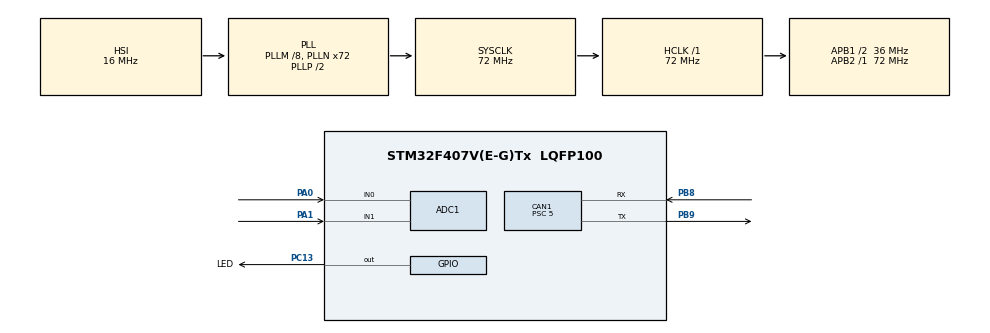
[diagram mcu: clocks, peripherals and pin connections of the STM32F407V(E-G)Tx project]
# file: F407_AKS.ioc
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ADC1.Channel-1\#ChannelRegularConversion=ADC_CHANNEL_1
ADC1.ContinuousConvMode=ENABLE
ADC1.NbrOfConversionFlag=1
ADC1.Rank-1\#ChannelRegularConversion=1
ADC1.SamplingTime-1\#ChannelRegularConversion=ADC_SAMPLETIME_3CYCLES
ADC1.master=1
CAN1.BS1=CAN_BS1_10TQ
CAN1.BS2=CAN_BS2_5TQ
CAN1.CalculateBaudRate=450000
CAN1.CalculateTimeBit=2222
CAN1.CalculateTimeQuantum=138.88888888888889
CAN1.Prescaler=5
Mcu.Family=STM32F4
Mcu.Name=STM32F407V(E-G)Tx
Mcu.Package=LQFP100
NVIC.PriorityGroup=NVIC_PRIORITYGROUP_4
PA0-WKUP.Signal=ADCx_IN0
PA1.Signal=ADCx_IN1
PA13.Mode=Serial_Wire
PA13.Signal=SYS_JTMS-SWDIO
PA14.Mode=Serial_Wire
PA14.Signal=SYS_JTCK-SWCLK
PB8.Mode=CAN_Activate
PB8.Signal=CAN1_RX
PB9.Mode=CAN_Activate
PB9.Signal=CAN1_TX
PC13-ANTI_TAMP.GPIO_Label=LED
PC13-ANTI_TAMP.Signal=GPIO_Output
PH0-OSC_IN.Mode=HSE-External-Oscillator
PH0-OSC_IN.Signal=RCC_OSC_IN
PH1-OSC_OUT.Mode=HSE-External-Oscillator
PH1-OSC_OUT.Signal=RCC_OSC_OUT
ProjectManager.HeapSize=0x200
ProjectManager.StackSize=0x400
ProjectManager.TargetToolchain=STM32CubeIDE
RCC.48MHZClocksFreq_Value=36000000
RCC.AHBFreq_Value=72000000
RCC.APB1CLKDivider=RCC_HCLK_DIV2
RCC.APB1Freq_Value=36000000
RCC.APB1TimFreq_Value=72000000
RCC.APB2Freq_Value=72000000
RCC.APB2TimFreq_Value=72000000
RCC.CortexFreq_Value=72000000
RCC.HCLKFreq_Value=72000000
RCC.HSE_VALUE=25000000
RCC.HSI_VALUE=16000000
RCC.LSE_VALUE=32768
RCC.PLLM=8
RCC.PLLN=72
RCC.SYSCLKFreq_VALUE=72000000
RCC.SYSCLKSource=RCC_SYSCLKSOURCE_PLLCLK
RCC.VCOOutputFreq_Value=144000000
SH.ADCx_IN0.0=ADC1_IN0,IN0
SH.ADCx_IN1.0=ADC1_IN1,IN1
board=custom

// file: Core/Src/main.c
/* USER CODE BEGIN Header */
/**
  ******************************************************************************
  * @file           : main.c
  * @brief          : Main program body
  ******************************************************************************
  * @attention
  *
  * Copyright (c) 2024 STMicroelectronics.
  * All rights reserved.
  *
  * This software is licensed under terms that can be found in the LICENSE file
  * in the root directory of this software component.
  * If no LICENSE file comes with this software, it is provided AS-IS.
  *
  ******************************************************************************
  */
/* USER CODE END Header */
#include "main.h"

/* USER CODE BEGIN Includes */
#include <math.h>

/* USER CODE END Includes */

ADC_HandleTypeDef hadc1;

CAN_HandleTypeDef hcan1;

/* USER CODE BEGIN PV */
uint32_t TxMailbox;
int i;
uint16_t testTemp_analog;
float testTemp;
uint16_t motorTemp_analog;
float motorTemp;
uint8_t dataReceive[8];
uint8_t Package8_1[8];
uint8_t Package8_2[8];
uint8_t Package8_3[8];
uint8_t Package8_4[8];
int gps_speed;

float Package1[8];
float Package2[8];
float Package3[8];
float Package4[8];

/* USER CODE END PV */

void SystemClock_Config(void);
static void MX_GPIO_Init(void);
static void MX_ADC1_Init(void);
static void MX_CAN1_Init(void);
/* USER CODE BEGIN PFP */
double Thermistor(int analogValue){

 double temperature;
 temperature = log(((40950000 / analogValue) - 10000));// 4095 ADC çözünürlüğü(12 bit)
 temperature = 1 / (0.001129148 + (0.000234125 + (0.0000000876741 * temperature * temperature)) * temperature);
 temperature = temperature - 273.15;
 return temperature;
}

/* USER CODE END PFP */

/* USER CODE BEGIN 0 */
struct carData{
	  float voltage1;
	  float voltage2;
	  float voltage3;
	  float voltage4;
	  float voltage5;
	  float voltage6;
	  float voltage7;
	  float voltage8;
	  float voltage9;
	  float voltage10;
	  float voltage11;
	  float voltage12;
	  float voltage13;
	  float voltage14;
	  float voltage15;
	  float voltage16;
	  float voltage17;
	  float voltage18;
	  float voltage19;
	  float voltage20;
	  float totalVoltage;
	  float batteryTemp1;
	  float batteryTemp2;
	  float batteryTemp3;
	  float batteryTemp4;
	  float testTemp;
	  float motorTemp;
	  float speed;
	  float current;
	  float remainEnergy;
  }data1;
CAN_TxHeaderTypeDef TxHeader[4];
CAN_RxHeaderTypeDef RxHeader[4];

/* USER CODE END 0 */

int main(void)
{

  /* MCU Configuration--------------------------------------------------------*/

  /* Reset of all peripherals, Initializes the Flash interface and the Systick. */
  HAL_Init();

  /* Configure the system clock */
  SystemClock_Config();

  /* Initialize all configured peripherals */
  MX_GPIO_Init();
  MX_ADC1_Init();
  MX_CAN1_Init();
  /* USER CODE BEGIN 2 */
  HAL_CAN_Start(&hcan1);

  TxHeader[0].DLC = 8;
  TxHeader[0].IDE = CAN_ID_EXT;
  TxHeader[0].RTR = CAN_RTR_DATA;
/*
  TxHeader[1].DLC = 8;
  TxHeader[1].IDE = CAN_ID_EXT;
  TxHeader[1].RTR = CAN_RTR_DATA;
  TxHeader[1].ExtId = 0x1DFFFFFF;

  TxHeader[2].DLC = 8;
  TxHeader[2].IDE = CAN_ID_EXT;
  TxHeader[2].RTR = CAN_RTR_DATA;
  TxHeader[2].ExtId = 0x1EFFFFFF;

  TxHeader[3].DLC = 8;
  TxHeader[3].IDE = CAN_ID_EXT;
  TxHeader[3].RTR = CAN_RTR_DATA;
  TxHeader[3].ExtId = 0x1FFFFFFF;
  */
  ADC_ChannelConfTypeDef sConfig = {0};

  /* USER CODE END 2 */

  /* Infinite loop */
  while (1)
  {

    /* USER CODE BEGIN 3 */

	  sConfig.Channel = ADC_CHANNEL_0;
	  sConfig.Rank = 1;
	  sConfig.SamplingTime = ADC_SAMPLETIME_3CYCLES;
	  if (HAL_ADC_ConfigChannel(&hadc1, &sConfig) != HAL_OK)
	  {
	    Error_Handler();
	  }

	  HAL_ADC_Start(&hadc1);
	  testTemp_analog = HAL_ADC_GetValue(&hadc1);
	  testTemp = Thermistor(testTemp_analog);
	  HAL_ADC_Stop(&hadc1);

	  sConfig.Channel = ADC_CHANNEL_1;
	  if (HAL_ADC_ConfigChannel(&hadc1, &sConfig) != HAL_OK)
	  {
	    Error_Handler();
	  }

	  HAL_ADC_Start(&hadc1);
	  motorTemp_analog = HAL_ADC_GetValue(&hadc1);
	  motorTemp = Thermistor(motorTemp_analog);
	  HAL_ADC_Stop(&hadc1);

	  HAL_GPIO_WritePin(LED_GPIO_Port, LED_Pin, 1);
	 // HAL_Delay(50);
	  HAL_CAN_GetRxMessage(&hcan1, CAN_RX_FIFO0, &RxHeader[0], dataReceive);
	  if(RxHeader[0].ExtId == 0x1CFFFFFF){
		  HAL_GPIO_WritePin(LED_GPIO_Port, LED_Pin, 0);
		 // HAL_Delay(50);
		  for(i=0;i<=7;i++){
			  Package8_1[i] = dataReceive[i];
		  }
	  }
	  //HAL_Delay(50);
	  HAL_CAN_GetRxMessage(&hcan1, CAN_RX_FIFO0, &RxHeader[0], dataReceive);
	  if(RxHeader[0].ExtId == 0x1DFFFFFF){
	  HAL_GPIO_WritePin(LED_GPIO_Port, LED_Pin, 0);
	  //HAL_Delay(50);
		  for(i=0;i<=7;i++){
			  Package8_2[i] = dataReceive[i];
		  }
	  }
	  //HAL_Delay(50);
	  HAL_CAN_GetRxMessage(&hcan1, CAN_RX_FIFO0, &RxHeader[0], dataReceive);
	  if(RxHeader[0].ExtId == 0x1EFFFFFF){
	  HAL_GPIO_WritePin(LED_GPIO_Port, LED_Pin, 0);
	 // HAL_Delay(50);
		  for(i=0;i<=7;i++){
			  Package8_3[i] = dataReceive[i];
		  }
	  }
	  //HAL_Delay(50);
	  HAL_CAN_GetRxMessage(&hcan1, CAN_RX_FIFO0, &RxHeader[0], dataReceive);
	  if(RxHeader[0].ExtId == 0x1FFFFFFF){
	  HAL_GPIO_WritePin(LED_GPIO_Port, LED_Pin, 0);
	  //HAL_Delay(50);
		  for(i=0;i<1;i++){
			  Package8_4[i] = dataReceive[i];
		  }
	  }
	  for(i=0;i<=7;i++){
		  Package1[i] = Thermistor(Package8_1[i]*16);
		  Package2[i] = Thermistor(Package8_2[i]*16);
		  Package3[i] = Thermistor(Package8_3[i]*16);
		  Package4[0] = Thermistor(Package8_4[0]*16);

	  }

	  gps_speed=15;

	  data1.voltage1 = Package1[0];
	  data1.voltage2 = Package1[1];
	  data1.voltage3 = Package1[2];
	  data1.voltage4 = Package1[3];
	  data1.voltage5 = Package1[4];
	  data1.voltage6 = Package1[5];
	  data1.voltage7 = Package1[6];
	  data1.voltage8 = Package1[7];
	  data1.voltage9 = Package2[0];
	  data1.voltage10 = Package2[1];
	  data1.voltage11 = Package2[2];
	  data1.voltage12 = Package2[3];
	  data1.voltage13 = Package2[4];
	  data1.voltage14 = Package2[5];
	  data1.voltage15 = Package2[6];
	  data1.voltage16 = Package2[7];
	  data1.voltage17 = Package3[0];
	  data1.voltage18 = Package3[1];
	  data1.voltage19 = Package3[2];
	  data1.voltage20 = Package3[3];
	  data1.totalVoltage = Package8_3[4]*84/255;
      data1.batteryTemp1 = Package3[5];
	  data1.batteryTemp2 = Package3[6];
	  data1.batteryTemp3 = Package3[7];
	  data1.batteryTemp4 = Package4[0];
	  data1.testTemp = testTemp;
	  Package8_4[1] = testTemp_analog/16;
	  data1.motorTemp = motorTemp;
	  Package8_4[2] = motorTemp_analog/16;
	  data1.speed = gps_speed;
	  Package8_4[3] = (uint8_t)gps_speed;
	  Package8_4[4] = 1028/16;
	  data1.current = Package8_4[3];
	  data1.remainEnergy = (int)(data1.totalVoltage/84.00)*100;
	  Package8_4[5] = (uint8_t)data1.remainEnergy;

	  TxHeader[0].ExtId = 0x0CFFFFFF;
	  HAL_CAN_AddTxMessage(&hcan1, &TxHeader[0], Package8_1, &TxMailbox);
	  HAL_Delay(10);
	  TxHeader[0].ExtId = 0x0DFFFFFF;
	  HAL_CAN_AddTxMessage(&hcan1, &TxHeader[0], Package8_2, &TxMailbox);
	  HAL_Delay(10);
	  TxHeader[0].ExtId = 0x0EFFFFFF;
	  HAL_CAN_AddTxMessage(&hcan1, &TxHeader[0], Package8_3, &TxMailbox);
	  HAL_Delay(10);
	  TxHeader[0].ExtId = 0x0FFFFFFF;
	  HAL_CAN_AddTxMessage(&hcan1, &TxHeader[0], Package8_4, &TxMailbox);
	  HAL_Delay(10);

  }
  /* USER CODE END 3 */
}

void SystemClock_Config(void)
{
  RCC_OscInitTypeDef RCC_OscInitStruct = {0};
  RCC_ClkInitTypeDef RCC_ClkInitStruct = {0};

  /** Configure the main internal regulator output voltage
  */
  __HAL_RCC_PWR_CLK_ENABLE();
  __HAL_PWR_VOLTAGESCALING_CONFIG(PWR_REGULATOR_VOLTAGE_SCALE1);

  /** Initializes the RCC Oscillators according to the specified parameters
  * in the RCC_OscInitTypeDef structure.
  */
  RCC_OscInitStruct.OscillatorType = RCC_OSCILLATORTYPE_HSI;
  RCC_OscInitStruct.HSIState = RCC_HSI_ON;
  RCC_OscInitStruct.HSICalibrationValue = RCC_HSICALIBRATION_DEFAULT;
  RCC_OscInitStruct.PLL.PLLState = RCC_PLL_ON;
  RCC_OscInitStruct.PLL.PLLSource = RCC_PLLSOURCE_HSI;
  RCC_OscInitStruct.PLL.PLLM = 8;
  RCC_OscInitStruct.PLL.PLLN = 72;
  RCC_OscInitStruct.PLL.PLLP = RCC_PLLP_DIV2;
  RCC_OscInitStruct.PLL.PLLQ = 4;
  if (HAL_RCC_OscConfig(&RCC_OscInitStruct) != HAL_OK)
  {
    Error_Handler();
  }

  /** Initializes the CPU, AHB and APB buses clocks
  */
  RCC_ClkInitStruct.ClockType = RCC_CLOCKTYPE_HCLK|RCC_CLOCKTYPE_SYSCLK
                              |RCC_CLOCKTYPE_PCLK1|RCC_CLOCKTYPE_PCLK2;
  RCC_ClkInitStruct.SYSCLKSource = RCC_SYSCLKSOURCE_PLLCLK;
  RCC_ClkInitStruct.AHBCLKDivider = RCC_SYSCLK_DIV1;
  RCC_ClkInitStruct.APB1CLKDivider = RCC_HCLK_DIV2;
  RCC_ClkInitStruct.APB2CLKDivider = RCC_HCLK_DIV1;

  if (HAL_RCC_ClockConfig(&RCC_ClkInitStruct, FLASH_LATENCY_2) != HAL_OK)
  {
    Error_Handler();
  }
}

static void MX_ADC1_Init(void)
{

  ADC_ChannelConfTypeDef sConfig = {0};

  /** Configure the global features of the ADC (Clock, Resolution, Data Alignment and number of conversion)
  */
  hadc1.Instance = ADC1;
  hadc1.Init.ClockPrescaler = ADC_CLOCK_SYNC_PCLK_DIV2;
  hadc1.Init.Resolution = ADC_RESOLUTION_12B;
  hadc1.Init.ScanConvMode = DISABLE;
  hadc1.Init.ContinuousConvMode = ENABLE;
  hadc1.Init.DiscontinuousConvMode = DISABLE;
  hadc1.Init.ExternalTrigConvEdge = ADC_EXTERNALTRIGCONVEDGE_NONE;
  hadc1.Init.ExternalTrigConv = ADC_SOFTWARE_START;
  hadc1.Init.DataAlign = ADC_DATAALIGN_RIGHT;
  hadc1.Init.NbrOfConversion = 1;
  hadc1.Init.DMAContinuousRequests = DISABLE;
  hadc1.Init.EOCSelection = ADC_EOC_SINGLE_CONV;
  if (HAL_ADC_Init(&hadc1) != HAL_OK)
  {
    Error_Handler();
  }

  /** Configure for the selected ADC regular channel its corresponding rank in the sequencer and its sample time.
  */
  sConfig.Channel = ADC_CHANNEL_1;
  sConfig.Rank = 1;
  sConfig.SamplingTime = ADC_SAMPLETIME_3CYCLES;
  if (HAL_ADC_ConfigChannel(&hadc1, &sConfig) != HAL_OK)
  {
    Error_Handler();
  }

}

static void MX_CAN1_Init(void)
{

  hcan1.Instance = CAN1;
  hcan1.Init.Prescaler = 5;
  hcan1.Init.Mode = CAN_MODE_NORMAL;
  hcan1.Init.SyncJumpWidth = CAN_SJW_1TQ;
  hcan1.Init.TimeSeg1 = CAN_BS1_10TQ;
  hcan1.Init.TimeSeg2 = CAN_BS2_5TQ;
  hcan1.Init.TimeTriggeredMode = DISABLE;
  hcan1.Init.AutoBusOff = DISABLE;
  hcan1.Init.AutoWakeUp = DISABLE;
  hcan1.Init.AutoRetransmission = DISABLE;
  hcan1.Init.ReceiveFifoLocked = DISABLE;
  hcan1.Init.TransmitFifoPriority = DISABLE;
  if (HAL_CAN_Init(&hcan1) != HAL_OK)
  {
    Error_Handler();
  }
  /* USER CODE BEGIN CAN1_Init 2 */
  CAN_FilterTypeDef canfilterconfig;

  canfilterconfig.FilterActivation = CAN_FILTER_ENABLE;
  canfilterconfig.FilterBank = 10;  // which filter bank to use from the assigned ones
  canfilterconfig.FilterFIFOAssignment = CAN_FILTER_FIFO0;
  canfilterconfig.FilterIdHigh = 0x000<<5;
  canfilterconfig.FilterIdLow = 0;
  canfilterconfig.FilterMaskIdHigh = 0x000<<5;
  canfilterconfig.FilterMaskIdLow = 0x0000;
  canfilterconfig.FilterMode = CAN_FILTERMODE_IDMASK;
  canfilterconfig.FilterScale = CAN_FILTERSCALE_32BIT;
  canfilterconfig.SlaveStartFilterBank = 13;  // how many filters to assign to the CAN1 (master can)

  HAL_CAN_ConfigFilter(&hcan1, &canfilterconfig);

  /* USER CODE END CAN1_Init 2 */

}

static void MX_GPIO_Init(void)
{
  GPIO_InitTypeDef GPIO_InitStruct = {0};

  /* GPIO Ports Clock Enable */
  __HAL_RCC_GPIOC_CLK_ENABLE();
  __HAL_RCC_GPIOH_CLK_ENABLE();
  __HAL_RCC_GPIOA_CLK_ENABLE();
  __HAL_RCC_GPIOB_CLK_ENABLE();

  /*Configure GPIO pin Output Level */
  HAL_GPIO_WritePin(LED_GPIO_Port, LED_Pin, GPIO_PIN_RESET);

  /*Configure GPIO pin : LED_Pin */
  GPIO_InitStruct.Pin = LED_Pin;
  GPIO_InitStruct.Mode = GPIO_MODE_OUTPUT_PP;
  GPIO_InitStruct.Pull = GPIO_NOPULL;
  GPIO_InitStruct.Speed = GPIO_SPEED_FREQ_LOW;
  HAL_GPIO_Init(LED_GPIO_Port, &GPIO_InitStruct);

}

void Error_Handler(void)
{
  __disable_irq();
  while (1)
  {
  }
}
